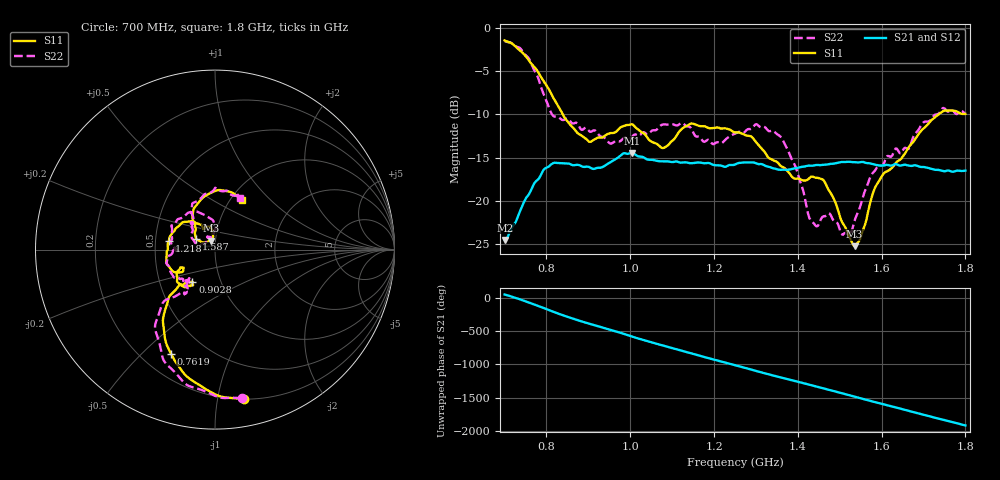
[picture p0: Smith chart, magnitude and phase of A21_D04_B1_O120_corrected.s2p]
! Created with skrf 1.9.0 (http://scikit-rf.org).
# Hz S RI R 50.0
!freq ReS11 ImS11 ReS21 ImS21 ReS12 ImS12 ReS22 ImS22
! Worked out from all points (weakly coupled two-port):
!   1601 points, 700 MHz to 1.8 GHz, reference 50 ohm
!   highest |S21| = -14.46 dB at 1.005 GHz (marker M1); lowest = -24.5 dB at 701.4 MHz (marker M2)
!   lowest |S11| = -25.3 dB at 1.535 GHz (marker M3), VSWR 1.12, Z = 47.5 + j4.68 ohm
!   |S11| at or under -10 dB: 838.8 MHz to 1.736 GHz (897.4 MHz wide, 69.7 % of centre)
!   |S22| runs from -24.0 to -1.5 dB; largest |S21 - S12| = 0.0035
!   S11 on the Smith chart (normalised r, x): 700 MHz: 0.20, -1.19; 761.9 MHz: 0.32, -0.61; 902.8 MHz: 0.73, -0.28; 1.218 GHz: 0.59, +0.06; 1.587 GHz: 0.80, +0.10; 1.8 GHz: 1.13, +0.70
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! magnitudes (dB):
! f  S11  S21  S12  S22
! 700 MHz  -1.4  -24.5  -24.3  -1.5
! 701.4 MHz  -1.5  -24.5  -24.2  -1.5
! 761.9 MHz  -4.0  -18.9  -18.8  -3.9
! 814.1 MHz  -7.9  -15.7  -15.7  -10.1
! 883.6 MHz  -12.4  -16.0  -15.9  -11.8
! 902.8 MHz  -13.2  -16.1  -16.1  -12.0
! 1.005 GHz  -11.2  -14.5  -14.6  -12.6
! 1.067 GHz  -13.6  -15.4  -15.4  -11.6
! 1.144 GHz  -11.1  -15.7  -15.7  -11.5
! 1.218 GHz  -11.7  -16.0  -16.0  -13.3
! 1.25 GHz  -12.1  -15.8  -15.7  -12.2
! 1.302 GHz  -13.3  -15.7  -15.6  -11.1
! 1.359 GHz  -16.0  -16.4  -16.4  -12.6
! 1.396 GHz  -17.5  -16.2  -16.2  -16.2
! 1.434 GHz  -17.2  -16.0  -15.9  -22.4
! 1.464 GHz  -17.8  -15.8  -15.8  -21.8
! 1.508 GHz  -22.7  -15.5  -15.5  -23.9
! 1.535 GHz  -25.3  -15.5  -15.5  -22.4
! 1.587 GHz  -18.3  -15.9  -15.9  -16.3
! 1.617 GHz  -16.5  -15.9  -15.9  -14.8
! 1.741 GHz  -9.8  -16.5  -16.5  -9.6
! 1.8 GHz  -9.9  -16.5  -16.5  -9.9
